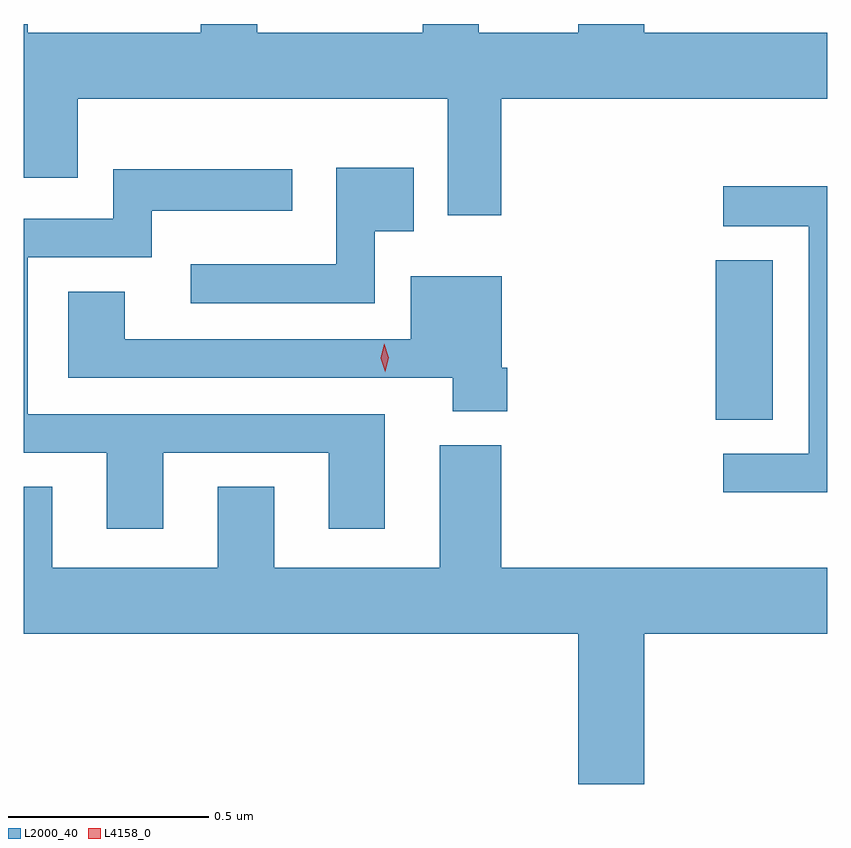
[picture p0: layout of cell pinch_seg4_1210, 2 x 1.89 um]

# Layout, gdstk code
import gdstk
lib = gdstk.Library(unit=1e-6, precision=1e-09)
def R(c, l, rs):  # rectangles x0, y0, x1, y1
    for r in rs: c.add(gdstk.rectangle(r[:2], r[2:], *l))
def P(c, l, *ps):  # polygons
    for p in ps: c.add(gdstk.Polygon(p, *l))
L2000_40 = (2000, 40)
L4158_0 = (4158, 0)

pinch_seg4_1210 = lib.new_cell('pinch_seg4_1210')
R(pinch_seg4_1210, L2000_40, [(536.978,786.697,537.121,787.094)])
P(pinch_seg4_1210, L2000_40, [(536.444,787.496),(537.256,787.496),(537.256,787.66),(536.8,787.66),(536.8,787.682),(536.636,787.682),(536.636,787.66),(536.389,787.66),(536.389,787.682),(536.249,787.682),(536.249,787.66),(535.837,787.66),(535.837,787.682),(535.697,787.682),(535.697,787.66),(535.266,787.66),(535.266,787.682),(535.256,787.682),(535.256,787.299),(535.39,787.299),(535.39,787.496),(536.312,787.496),(536.312,787.206),(536.444,787.206)],
  [(536.13,787.166),(536.227,787.166),(536.227,787.324),(536.034,787.324),(536.034,787.084),(535.671,787.084),(535.671,786.987),(536.13,786.987)],
  [(535.603,786.615),(536.015,786.615),(536.015,786.426),(536.155,786.426),(536.155,786.711),(535.266,786.711),(535.266,787.101),(535.575,787.101),(535.575,787.217),(535.924,787.217),(535.924,787.321),(535.479,787.321),(535.479,787.197),(535.256,787.197),(535.256,786.615),(535.463,786.615),(535.463,786.426),(535.603,786.426)],
  [(537.256,787.278),(536.997,787.278),(536.997,787.179),(537.21,787.179),(537.21,786.612),(536.997,786.612),(536.997,786.516),(537.256,786.516)],
  [(536.459,786.826),(536.446,786.826),(536.446,787.054),(536.219,787.054),(536.219,786.897),(535.507,786.897),(535.507,787.016),(535.367,787.016),(535.367,786.801),(536.324,786.801),(536.324,786.718),(536.459,786.718)],
  [(536.8,786.164),(537.256,786.164),(537.256,786.328),(536.444,786.328),(536.444,786.633),(536.291,786.633),(536.291,786.328),(535.879,786.328),(535.879,786.53),(535.739,786.53),(535.739,786.328),(535.327,786.328),(535.327,786.53),(535.256,786.53),(535.256,786.164),(536.636,786.164),(536.636,785.79),(536.8,785.79)])
P(pinch_seg4_1210, L4158_0, [(536.156,786.816),(536.156,786.816),(536.144,786.85),(536.153,786.886),(536.153,786.886),(536.153,786.886),(536.164,786.851),(536.156,786.816)])

lib.write_gds('pinch_seg4_1210.gds')
